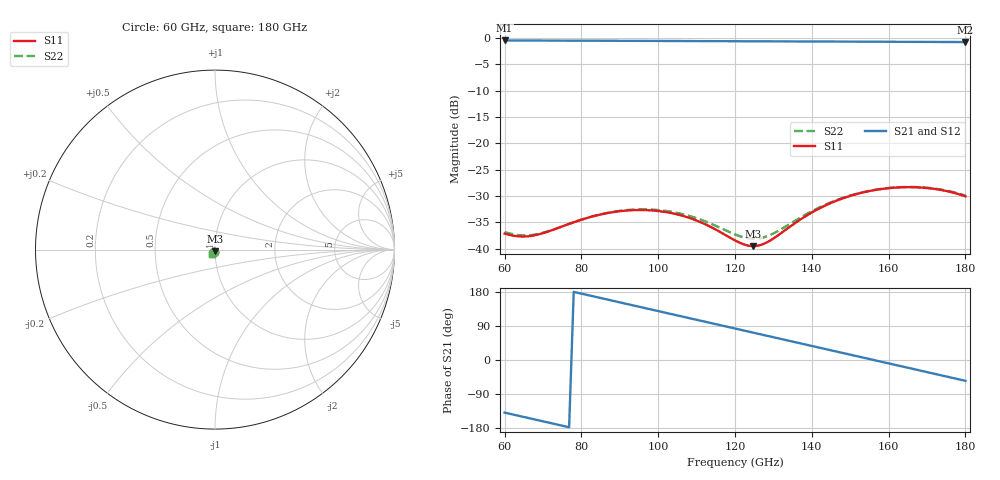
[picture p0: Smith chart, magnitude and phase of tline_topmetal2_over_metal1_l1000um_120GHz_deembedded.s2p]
! Created with skrf 2.2.0 (http://scikit-rf.org).
# GHz S DB R 50.0
! Port[1] = P1
! Port[2] = P2
!freq dBS11 angS11 dBS21 angS21 dBS12 angS12 dBS22 angS22
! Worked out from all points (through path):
!   101 points, 60 GHz to 180 GHz, reference 50 ohm
!   highest |S21| = -0.44 dB at 60 GHz (marker M1); lowest = -0.8 dB at 180 GHz (marker M2)
!   group delay of S21, straight-line fit = 6.39 ps
!   lowest |S11| = -39.5 dB at 124.8 GHz (marker M3), VSWR 1.02, Z = 49.9 - j1.05 ohm
!   |S11| at or under -10 dB: start of sweep to end of sweep
!   |S22| runs from -38.1 to -28.3 dB; largest |S21 - S12| = 1.6e-14
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60  -37.14 -108.4  -0.44 -138.8  -0.44 -138.8  -36.85 -109.5
64.8  -37.70 -99.3  -0.45 -149.9  -0.45 -149.9  -37.49 -100.8
70.8  -36.87 -88.9  -0.47 -163.7  -0.47 -163.7  -36.81 -90.1
75.6  -35.61 -85.9  -0.48 -174.7  -0.48 -174.7  -35.61 -86.5
80.4  -34.40 -87.4  -0.49 174.2  -0.49 174.2  -34.40 -87.4
85.2  -33.47 -91.7  -0.50 163.2  -0.50 163.2  -33.44 -91.1
90  -32.88 -97.6  -0.51 152.1  -0.51 152.1  -32.82 -96.5
94.8  -32.66 -104.2  -0.53 141.1  -0.53 141.1  -32.55 -102.7
100.8  -32.92 -112.6  -0.54 127.3  -0.54 127.3  -32.72 -110.4
110.4  -34.77 -122.6  -0.57 105.2  -0.57 105.2  -34.31 -119.3
115.2  -36.46 -122.8  -0.58 94.1  -0.58 94.1  -35.73 -119.2
120  -38.43 -115.2  -0.59 83.1  -0.59 83.1  -37.29 -112.7
124.8  -39.53 -96.6  -0.60 72.1  -0.60 72.1  -38.14 -98.0
129.6  -38.26 -76.5  -0.62 61.0  -0.62 61.0  -37.25 -81.6
134.4  -35.78 -67.1  -0.63 50.0  -0.63 50.0  -35.26 -72.4
140.4  -32.97 -66.9  -0.64 36.2  -0.64 36.2  -32.75 -71.0
146.4  -30.89 -72.7  -0.66 22.4  -0.66 22.4  -30.79 -75.6
151.2  -29.72 -79.3  -0.67 11.3  -0.67 11.3  -29.66 -81.5
156  -28.92 -86.8  -0.68 0.3  -0.68 0.3  -28.88 -88.3
160.8  -28.45 -94.8  -0.70 -10.8  -0.70 -10.8  -28.42 -95.8
170.4  -28.51 -111.2  -0.72 -32.8  -0.72 -32.8  -28.45 -111.1
180  -30.06 -126.2  -0.75 -54.9  -0.75 -54.9  -29.92 -124.7
